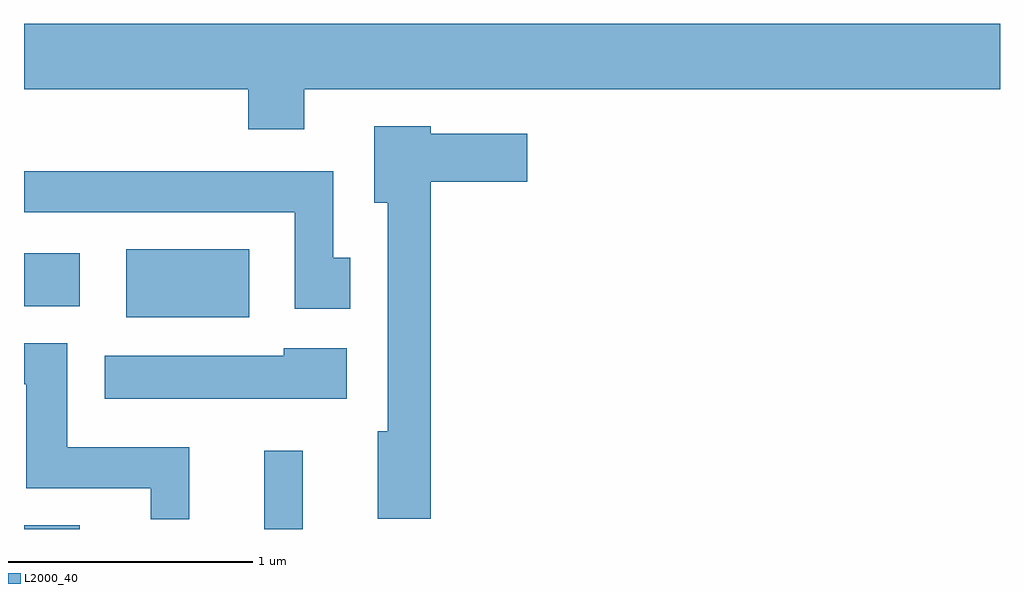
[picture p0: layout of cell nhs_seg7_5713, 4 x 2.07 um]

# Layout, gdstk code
import gdstk
lib = gdstk.Library(unit=1e-6, precision=1e-09)
def R(c, l, rs):  # rectangles x0, y0, x1, y1
    for r in rs: c.add(gdstk.rectangle(r[:2], r[2:], *l))
def P(c, l, *ps):  # polygons
    for p in ps: c.add(gdstk.Polygon(p, *l))
L2000_40 = (2000, 40)

nhs_seg7_5713 = lib.new_cell('nhs_seg7_5713')
R(nhs_seg7_5713, L2000_40, [(359.611,1750.252,359.839,1750.269), (360.596,1750.252,360.754,1750.573), (360.031,1751.121,360.534,1751.399), (359.611,1751.166,359.839,1751.384)])
P(nhs_seg7_5713, L2000_40, [(360.759,1752.056),(363.611,1752.056),(363.611,1752.324),(359.611,1752.324),(359.611,1752.056),(360.531,1752.056),(360.531,1751.891),(360.759,1751.891)],
  [(361.279,1751.676),(361.674,1751.676),(361.674,1751.874),(361.279,1751.874),(361.279,1751.904),(361.046,1751.904),(361.046,1751.591),(361.101,1751.591),(361.101,1750.654),(361.061,1750.654),(361.061,1750.296),(361.279,1750.296)],
  [(360.949,1751.364),(360.879,1751.364),(360.879,1751.719),(359.611,1751.719),(359.611,1751.551),(360.721,1751.551),(360.721,1751.156),(360.949,1751.156)],
  [(360.289,1750.589),(359.789,1750.589),(359.789,1751.014),(359.611,1751.014),(359.611,1750.846),(359.621,1750.846),(359.621,1750.421),(360.131,1750.421),(360.131,1750.293),(360.289,1750.293)],
  [(360.934,1750.994),(360.676,1750.994),(360.676,1750.964),(359.941,1750.964),(359.941,1750.786),(360.934,1750.786)])

lib.write_gds('nhs_seg7_5713.gds')
